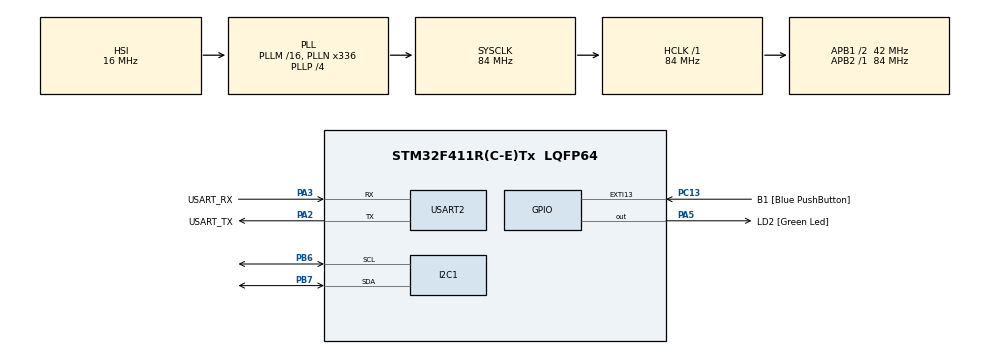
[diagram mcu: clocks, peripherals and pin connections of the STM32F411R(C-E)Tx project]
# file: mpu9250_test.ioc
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Mcu.Family=STM32F4
Mcu.Name=STM32F411R(C-E)Tx
Mcu.Package=LQFP64
NVIC.PriorityGroup=NVIC_PRIORITYGROUP_0
PA13.GPIO_Label=TMS
PA13.Mode=Serial_Wire
PA13.Signal=SYS_JTMS-SWDIO
PA14.GPIO_Label=TCK
PA14.Mode=Serial_Wire
PA14.Signal=SYS_JTCK-SWCLK
PA2.GPIO_Label=USART_TX
PA2.Mode=Asynchronous
PA2.Signal=USART2_TX
PA3.GPIO_Label=USART_RX
PA3.Mode=Asynchronous
PA3.Signal=USART2_RX
PA5.GPIO_Label=LD2 [Green Led]
PA5.Signal=GPIO_Output
PB3.GPIO_Label=SWO
PB3.Signal=SYS_JTDO-SWO
PB6.Mode=I2C
PB6.Signal=I2C1_SCL
PB7.Mode=I2C
PB7.Signal=I2C1_SDA
PC13-ANTI_TAMP.GPIO_Label=B1 [Blue PushButton]
PC13-ANTI_TAMP.GPIO_ModeDefaultEXTI=GPIO_MODE_IT_FALLING
PC13-ANTI_TAMP.Signal=GPXTI13
PC14-OSC32_IN.Mode=LSE-External-Oscillator
PC14-OSC32_IN.Signal=RCC_OSC32_IN
PC15-OSC32_OUT.Mode=LSE-External-Oscillator
PC15-OSC32_OUT.Signal=RCC_OSC32_OUT
PH0\ -\ OSC_IN.Mode=HSE-External-Clock-Source
PH0\ -\ OSC_IN.Signal=RCC_OSC_IN
PH1\ -\ OSC_OUT.Mode=HSE-External-Clock-Source
PH1\ -\ OSC_OUT.Signal=RCC_OSC_OUT
ProjectManager.HeapSize=0x200
ProjectManager.StackSize=0x400
ProjectManager.TargetToolchain=STM32CubeIDE
RCC.48MHZClocksFreq_Value=84000000
RCC.AHBFreq_Value=84000000
RCC.APB1CLKDivider=RCC_HCLK_DIV2
RCC.APB1Freq_Value=42000000
RCC.APB1TimFreq_Value=84000000
RCC.APB2Freq_Value=84000000
RCC.APB2TimFreq_Value=84000000
RCC.CortexFreq_Value=84000000
RCC.FLatency-AdvancedSettings=FLASH_LATENCY_2
RCC.HCLKFreq_Value=84000000
RCC.HSE_VALUE=8000000
RCC.HSI_VALUE=16000000
RCC.PLLN=336
RCC.PLLP=RCC_PLLP_DIV4
RCC.SYSCLKFreq_VALUE=84000000
RCC.SYSCLKSource=RCC_SYSCLKSOURCE_PLLCLK
RCC.VCOOutputFreq_Value=336000000
USART2.VirtualMode=VM_ASYNC
board=NUCLEO-F411RE

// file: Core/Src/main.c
/* USER CODE BEGIN Header */
/**
  ******************************************************************************
  * @file           : main.c
  * @brief          : Main program body
  ******************************************************************************
  * @attention
  *
  * Copyright (c) 2025 STMicroelectronics.
  * All rights reserved.
  *
  * This software is licensed under terms that can be found in the LICENSE file
  * in the root directory of this software component.
  * If no LICENSE file comes with this software, it is provided AS-IS.
  *
  ******************************************************************************
  */
/* USER CODE END Header */
#include "main.h"

/* USER CODE BEGIN Includes */
#include <stdio.h>
#include <math.h>
#include "MPU9250.h"

/* USER CODE END Includes */

/* USER CODE BEGIN PD */
#ifdef __GNUC__
/* With GCC, small printf (option LD Linker->Libraries->Small printf
   set to 'Yes') calls __io_putchar() */
#define PUTCHAR_PROTOTYPE int __io_putchar(int ch)
#else
#define PUTCHAR_PROTOTYPE int fputc(int ch, FILE *f)
#endif /* __GNUC__ */

/* USER CODE END PD */

I2C_HandleTypeDef hi2c1;

UART_HandleTypeDef huart2;

/* USER CODE BEGIN PV */
MPU9250_t mpu;              // MPU9250 핸들
static float mag_off_x = 0; // 간이 하드아이언 오프셋(초기 0)
static float mag_off_y = 0;

/* USER CODE END PV */

void SystemClock_Config(void);
static void MX_GPIO_Init(void);
static void MX_USART2_UART_Init(void);
static void MX_I2C1_Init(void);

/* USER CODE BEGIN 0 */
static float heading_deg_from_magnet(float mx, float my)
{
  float hdg = atan2f(my, mx) * 180.0f / 3.1415926f; // atan2f 대용 함수 쓰면 atan2f로 교체
  if (hdg < 0) hdg += 360.0f;
  return hdg;
}

/* USER CODE END 0 */

int main(void)
{

  /* MCU Configuration--------------------------------------------------------*/

  /* Reset of all peripherals, Initializes the Flash interface and the Systick. */
  HAL_Init();

  /* Configure the system clock */
  SystemClock_Config();

  /* Initialize all configured peripherals */
  MX_GPIO_Init();
  MX_USART2_UART_Init();
  MX_I2C1_Init();
  /* USER CODE BEGIN 2 */
  if (MPU9250_Init(&mpu, MPU9250_Device_0,
                   ACCEL_SCALE_2G,
                   GYRO_SCALE_250dps,
                   MAG_SCALE_16bit) != MPU9250_RESULT_OK)
  {
    printf("MPU9250 init FAILED\r\n");
    while (1) { HAL_Delay(500); }
  }
  printf("MPU9250 init OK\r\n");

  // ---- AK8963 / BYPASS 확인용 빠른 진단 ----
  uint8_t mpu_who=0, int_cfg=0, ak_wia=0, ak_cntl1=0;

  HAL_I2C_Mem_Read(&hi2c1, (0x68<<1), 0x75, I2C_MEMADD_SIZE_8BIT, &mpu_who, 1, 100);  // MPU WHO_AM_I
  HAL_I2C_Mem_Read(&hi2c1, (0x68<<1), 0x37, I2C_MEMADD_SIZE_8BIT, &int_cfg,  1, 100); // INT_PIN_CFG
  HAL_I2C_Mem_Read(&hi2c1, (0x0C<<1), 0x00, I2C_MEMADD_SIZE_8BIT, &ak_wia,   1, 100); // AK8963 WIA
  HAL_I2C_Mem_Read(&hi2c1, (0x0C<<1), 0x0A, I2C_MEMADD_SIZE_8BIT, &ak_cntl1, 1, 100); // AK8963 CNTL1

  printf("MPU WHO_AM_I=0x%02X (expect 0x71)\r\n", mpu_who);
  printf("INT_PIN_CFG =0x%02X (BYPASS_EN bit1 should be 1)\r\n", int_cfg);
  printf("AK8963 WIA  =0x%02X (expect 0x48)\r\n", ak_wia);
  printf("AK8963 CNTL1=0x%02X (0x12=16bit cont1, 0x16=16bit cont2)\r\n", ak_cntl1);

  /* USER CODE END 2 */

  /* Infinite loop */
  while (1)
  {

    /* USER CODE BEGIN 3 */
#if 1
		MPU9250_Result_t r = MPU9250_ReadMag(&mpu);
		if (r == MPU9250_RESULT_OK) {
			float mx = (float)mpu.mag_raw[0] * mpu.magMult;
			float my = (float)mpu.mag_raw[1] * mpu.magMult;
			float mz = (float)mpu.mag_raw[2] * mpu.magMult;

			// |B| 계산
			float B_mag = sqrtf(mx*mx + my*my + mz*mz);

			printf("Mag(uT) X:%.2f Y:%.2f Z:%.2f \r\n", mx, my, mz);
			printf("|B| = %.1f (uT) \r\n", B_mag);
		}
		HAL_Delay(50);
	}
#endif
#if 0
  // MPU9250_ReadMag 함수 사용 안했을 때
	  // 1) AK8963 ST1에서 DRDY 체크 후 강제 Read (DataReady() 없이)
	  uint8_t st1=0, raw[7]={0};
	  HAL_I2C_Mem_Read(&hi2c1, (0x0C<<1), 0x02, I2C_MEMADD_SIZE_8BIT, &st1, 1, 10); // ST1

	  if (st1 & 0x01) {
	    // HXL~HZH(6byte) + ST2(1byte)를 한 번에
	    if (HAL_I2C_Mem_Read(&hi2c1, (0x0C<<1), 0x03, I2C_MEMADD_SIZE_8BIT, raw, 7, 50) == HAL_OK) {
	      int16_t mx_raw = (int16_t)((raw[1]<<8) | raw[0]);
	      int16_t my_raw = (int16_t)((raw[3]<<8) | raw[2]);
	      int16_t mz_raw = (int16_t)((raw[5]<<8) | raw[4]);

	      // 센서코드값을 물리단위로 변환 : raw -> uT 변환은 드라이버의 mpu.magMult 사용(초기화 시 세팅됨)
	      float mx = (float)mx_raw * mpu.magMult;
	      float my = (float)my_raw * mpu.magMult;
	      float mz = (float)mz_raw * mpu.magMult;

	      // |B| 계산
	      float B_mag = sqrtf(mx*mx + my*my + mz*mz);

//	      // 간이 heading
//	      float hdg = atan2f(my, mx) * 180.0f / 3.1415926f;
//	      if (hdg < 0) hdg += 360.0f;

	      printf("Mag(uT) X:%.2f Y:%.2f Z:%.2f", mx, my, mz);
	      printf("|B| = %.1f (uT) \r\n", B_mag);
	    }
	  } else {
	    // DRDY가 아직 아니면 점 하나 찍어서 루프가 도는지 확인
//	    printf(".");  // 필요 시 주석 해제
	  }

	  HAL_Delay(50); // 약 20Hz
  }
#endif

#if 0
	  if (MPU9250_DataReady(&mpu) == MPU9250_RESULT_OK)
	  {
		// 필요하면 가속/자이로도 읽기
		// MPU9250_ReadAccel(&mpu);
		// MPU9250_ReadGyro(&mpu);

		// --- 자기장 읽기 ---
		MPU9250_ReadMag(&mpu);

		// 드라이버가 mag[]에 각도 변환을 섞어둘 수 있으니 raw * scale 사용하는 편이 안전
		float mx = (float)mpu.mag_raw[0] * mpu.magMult;
		float my = (float)mpu.mag_raw[1] * mpu.magMult;
		float mz = (float)mpu.mag_raw[2] * mpu.magMult;

		// 간이 오프셋 보정(초기엔 0, 극값 측정 후 갱신)
		float hdg = heading_deg_from_magnet(mx - mag_off_x, my - mag_off_y);

		printf("Mag(uT) X:%.2f Y:%.2f Z:%.2f | Heading: %.1f deg\r\n",
			   mx, my, mz, hdg);
	  }
	  HAL_Delay(50); // 출력 주기 약 20Hz
	}
#endif

  /* USER CODE END 3 */
}

void SystemClock_Config(void)
{
  RCC_OscInitTypeDef RCC_OscInitStruct = {0};
  RCC_ClkInitTypeDef RCC_ClkInitStruct = {0};

  /** Configure the main internal regulator output voltage
  */
  __HAL_RCC_PWR_CLK_ENABLE();
  __HAL_PWR_VOLTAGESCALING_CONFIG(PWR_REGULATOR_VOLTAGE_SCALE1);

  /** Initializes the RCC Oscillators according to the specified parameters
  * in the RCC_OscInitTypeDef structure.
  */
  RCC_OscInitStruct.OscillatorType = RCC_OSCILLATORTYPE_HSI;
  RCC_OscInitStruct.HSIState = RCC_HSI_ON;
  RCC_OscInitStruct.HSICalibrationValue = RCC_HSICALIBRATION_DEFAULT;
  RCC_OscInitStruct.PLL.PLLState = RCC_PLL_ON;
  RCC_OscInitStruct.PLL.PLLSource = RCC_PLLSOURCE_HSI;
  RCC_OscInitStruct.PLL.PLLM = 16;
  RCC_OscInitStruct.PLL.PLLN = 336;
  RCC_OscInitStruct.PLL.PLLP = RCC_PLLP_DIV4;
  RCC_OscInitStruct.PLL.PLLQ = 4;
  if (HAL_RCC_OscConfig(&RCC_OscInitStruct) != HAL_OK)
  {
    Error_Handler();
  }

  /** Initializes the CPU, AHB and APB buses clocks
  */
  RCC_ClkInitStruct.ClockType = RCC_CLOCKTYPE_HCLK|RCC_CLOCKTYPE_SYSCLK
                              |RCC_CLOCKTYPE_PCLK1|RCC_CLOCKTYPE_PCLK2;
  RCC_ClkInitStruct.SYSCLKSource = RCC_SYSCLKSOURCE_PLLCLK;
  RCC_ClkInitStruct.AHBCLKDivider = RCC_SYSCLK_DIV1;
  RCC_ClkInitStruct.APB1CLKDivider = RCC_HCLK_DIV2;
  RCC_ClkInitStruct.APB2CLKDivider = RCC_HCLK_DIV1;

  if (HAL_RCC_ClockConfig(&RCC_ClkInitStruct, FLASH_LATENCY_2) != HAL_OK)
  {
    Error_Handler();
  }
}

static void MX_I2C1_Init(void)
{

  hi2c1.Instance = I2C1;
  hi2c1.Init.ClockSpeed = 100000;
  hi2c1.Init.DutyCycle = I2C_DUTYCYCLE_2;
  hi2c1.Init.OwnAddress1 = 0;
  hi2c1.Init.AddressingMode = I2C_ADDRESSINGMODE_7BIT;
  hi2c1.Init.DualAddressMode = I2C_DUALADDRESS_DISABLE;
  hi2c1.Init.OwnAddress2 = 0;
  hi2c1.Init.GeneralCallMode = I2C_GENERALCALL_DISABLE;
  hi2c1.Init.NoStretchMode = I2C_NOSTRETCH_DISABLE;
  if (HAL_I2C_Init(&hi2c1) != HAL_OK)
  {
    Error_Handler();
  }

}

static void MX_USART2_UART_Init(void)
{

  huart2.Instance = USART2;
  huart2.Init.BaudRate = 115200;
  huart2.Init.WordLength = UART_WORDLENGTH_8B;
  huart2.Init.StopBits = UART_STOPBITS_1;
  huart2.Init.Parity = UART_PARITY_NONE;
  huart2.Init.Mode = UART_MODE_TX_RX;
  huart2.Init.HwFlowCtl = UART_HWCONTROL_NONE;
  huart2.Init.OverSampling = UART_OVERSAMPLING_16;
  if (HAL_UART_Init(&huart2) != HAL_OK)
  {
    Error_Handler();
  }

}

static void MX_GPIO_Init(void)
{
  GPIO_InitTypeDef GPIO_InitStruct = {0};

  /* GPIO Ports Clock Enable */
  __HAL_RCC_GPIOC_CLK_ENABLE();
  __HAL_RCC_GPIOH_CLK_ENABLE();
  __HAL_RCC_GPIOA_CLK_ENABLE();
  __HAL_RCC_GPIOB_CLK_ENABLE();

  /*Configure GPIO pin Output Level */
  HAL_GPIO_WritePin(LD2_GPIO_Port, LD2_Pin, GPIO_PIN_RESET);

  /*Configure GPIO pin : B1_Pin */
  GPIO_InitStruct.Pin = B1_Pin;
  GPIO_InitStruct.Mode = GPIO_MODE_IT_FALLING;
  GPIO_InitStruct.Pull = GPIO_NOPULL;
  HAL_GPIO_Init(B1_GPIO_Port, &GPIO_InitStruct);

  /*Configure GPIO pin : LD2_Pin */
  GPIO_InitStruct.Pin = LD2_Pin;
  GPIO_InitStruct.Mode = GPIO_MODE_OUTPUT_PP;
  GPIO_InitStruct.Pull = GPIO_NOPULL;
  GPIO_InitStruct.Speed = GPIO_SPEED_FREQ_LOW;
  HAL_GPIO_Init(LD2_GPIO_Port, &GPIO_InitStruct);

}

/* USER CODE BEGIN 4 */
/**
  * @brief  Retargets the C library printf function to the USART.
  * @param  None
  * @retval None
  */
PUTCHAR_PROTOTYPE
{
  /* Place your implementation of fputc here */
  /* e.g. write a character to the USART6 and Loop until the end of transmission */
  HAL_UART_Transmit(&huart2, (uint8_t *)&ch, 1, 0xFFFF);

  return ch;
}

/* USER CODE END 4 */

void Error_Handler(void)
{
  __disable_irq();
  while (1)
  {
  }
}
